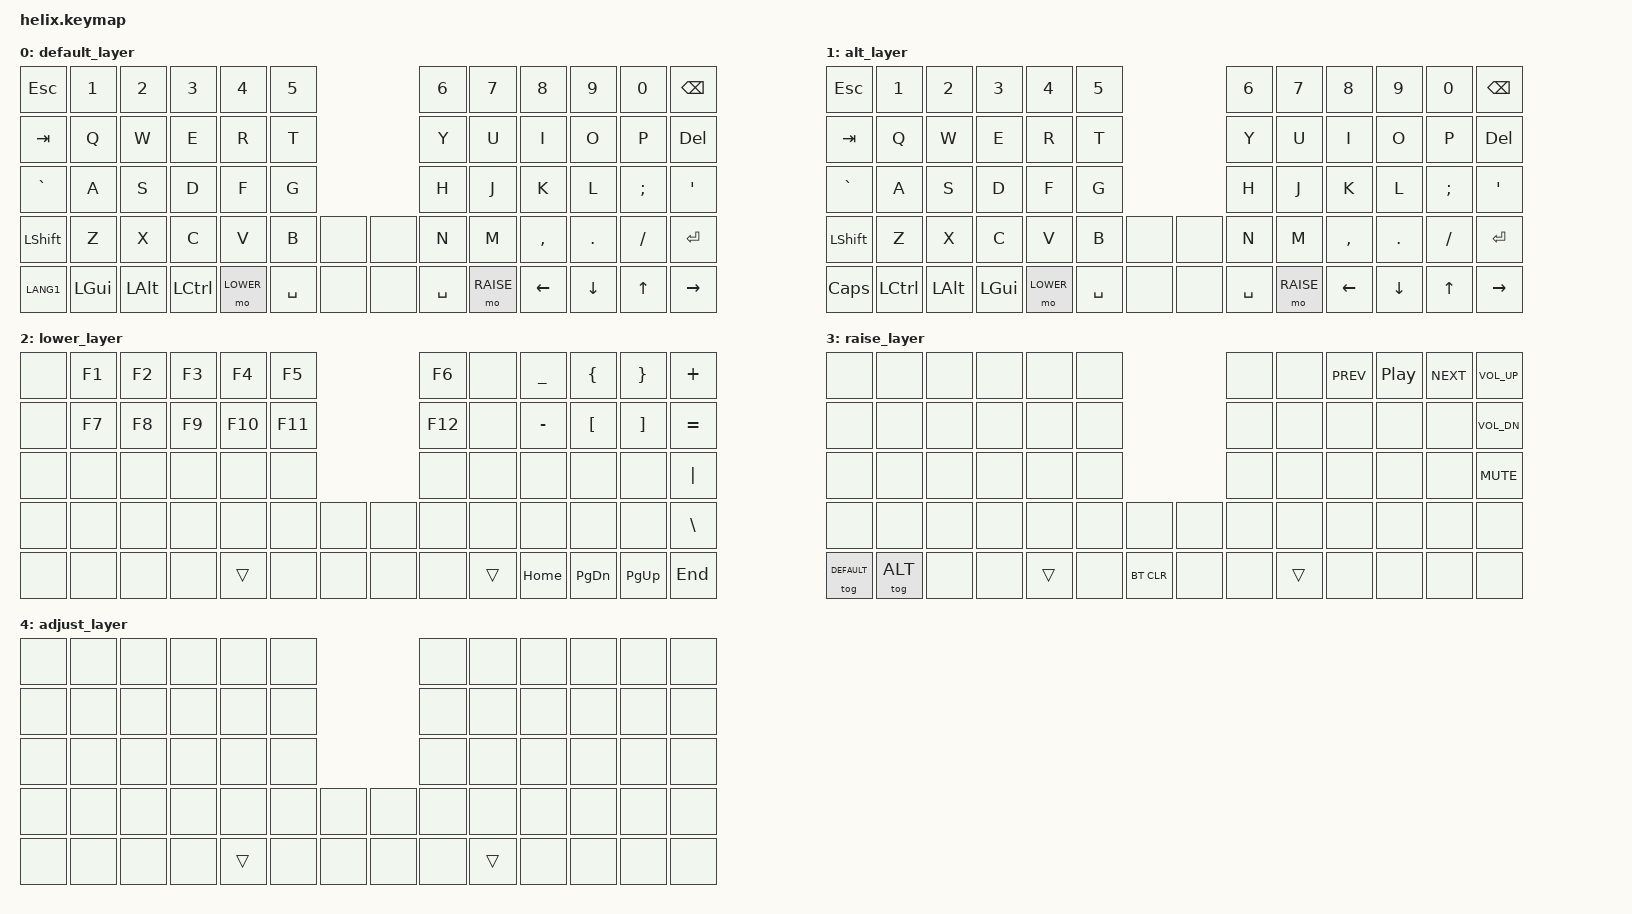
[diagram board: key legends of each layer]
/*
 * Copyright (c) 2020 The ZMK Contributors
 *
 * SPDX-License-Identifier: MIT
 */

 #include <behaviors.dtsi>
 #include <dt-bindings/zmk/keys.h>
 #include <dt-bindings/zmk/bt.h>
 #include <dt-bindings/zmk/rgb.h>
 #include <dt-bindings/zmk/ext_power.h>
 #include <dt-bindings/zmk/outputs.h>

 #define DEFAULT 0
 #define ALT     1
 #define LOWER   2
 #define RAISE   3
 #define ADJUST  4

/* NOTE: At the time of the creation of this keymap, there are no specified codes for 'eisuu' and 'kana' input in ZMK.
However, 'LANG1' and 'LANG2' are fully-functioning candidates for 'kana' and 'eisuu' input respectively.
As such, those are in use within the default layer at this time. */

/ {
    keymap {
        compatible = "zmk,keymap";

/* Windows layout
    | ESC   | 1    | 2    | 3     | 4     | 5     |                  | 6     | 7     | 8    | 9    | 0  | BSPC  |
    | TAB   | Q    | W    | E     | R     | T     |                  | Y     | U     | I    | O    | P  | DEL   |
    | GRAVE | A    | S    | D     | F     | G     |                  | H     | J     | K    | L    | ;  | '     |
    | SHIFT | Z    | X    | C     | V     | B     |    |        |    | N     | M     | ,    | .    | /  | ENTER |
    | LANG1 | LGUI | LALT | LCTRL | LOWER | SPACE |    |        |    | SPACE | RAISE | LEFT | DOWN | UP | RIGHT |
*/
        default_layer {
            bindings = <
                &kp ESC   &kp N1   &kp N2   &kp N3    &kp N4    &kp N5                   &kp N6    &kp N7    &kp N8    &kp N9     &kp N0    &kp BSPC
                &kp TAB   &kp Q    &kp W    &kp E     &kp R     &kp T                    &kp Y     &kp U     &kp I     &kp O      &kp P     &kp DEL
                &kp GRAVE &kp A    &kp S    &kp D     &kp F     &kp G                    &kp H     &kp J     &kp K     &kp L      &kp SEMI  &kp SQT
                &kp LSHFT &kp Z    &kp X    &kp C     &kp V     &kp B     &none    &none &kp N     &kp M     &kp COMMA &kp PERIOD &kp SLASH &kp ENTER
                &kp LANG1 &kp LGUI &kp LALT &kp LCTRL &mo LOWER &kp SPACE &none    &none &kp SPACE &mo RAISE &kp LEFT  &kp DOWN   &kp UP    &kp RIGHT
            >;
        };

/* Mac layout
    | ESC   | 1     | 2    | 3    | 4     | 5     |                  | 6     | 7     | 8    | 9    | 0  | BSPC  |
    | TAB   | Q     | W    | E    | R     | T     |                  | Y     | U     | I    | O    | P  | DEL   |
    | GRAVE | A     | S    | D    | F     | G     |                  | H     | J     | K    | L    | ;  | '     |
    | SHIFT | Z     | X    | C    | V     | B     |    |        |    | N     | M     | ,    | .    | /  | ENTER |
    | CAPS  | LCTRL | LALT | LGUI | LOWER | SPACE |    |        |    | SPACE | RAISE | LEFT | DOWN | UP | RIGHT |
*/
        alt_layer {
            bindings = <
                &kp ESC   &kp N1    &kp N2   &kp N3   &kp N4    &kp N5                   &kp N6    &kp N7    &kp N8    &kp N9     &kp N0    &kp BSPC
                &kp TAB   &kp Q     &kp W    &kp E    &kp R     &kp T                    &kp Y     &kp U     &kp I     &kp O      &kp P     &kp DEL
                &kp GRAVE &kp A     &kp S    &kp D    &kp F     &kp G                    &kp H     &kp J     &kp K     &kp L      &kp SEMI  &kp SQT
                &kp LSHFT &kp Z     &kp X    &kp C    &kp V     &kp B     &none    &none &kp N     &kp M     &kp COMMA &kp PERIOD &kp SLASH &kp ENTER
                &kp CAPS  &kp LCTRL &kp LALT &kp LGUI &mo LOWER &kp SPACE &none    &none &kp SPACE &mo RAISE &kp LEFT  &kp DOWN   &kp UP    &kp RIGHT
            >;
        };

/*
    |    | F1 | F2 | F3 | F4    | F5  |                  | F6  |       | _    | {     | }     | +   |
    |    | F7 | F8 | F9 | F10   | F11 |                  | F12 |       | -    | [     | ]     | =   |
    |    |    |    |    |       |     |                  |     |       |      |       |       | |   |
    |    |    |    |    |       |     |    |        |    |     |       |      |       |       | \   |
    |    |    |    |    | LOWER |     |    |        |    |     | RAISE | HOME | PG_DN | PG_UP | END |
*/
        lower_layer {
            bindings = <
                &none &kp F1 &kp F2 &kp F3 &kp F4  &kp F5                 &kp F6  &none  &kp UNDER &kp LBRC  &kp RBRC  &kp PLUS
                &none &kp F7 &kp F8 &kp F9 &kp F10 &kp F11                &kp F12 &none  &kp MINUS &kp LBKT  &kp RBKT  &kp EQUAL
                &none &none  &none  &none  &none   &none                  &none   &none  &none     &none     &none     &kp PIPE
                &none &none  &none  &none  &none   &none   &none    &none &none   &none  &none     &none     &none     &kp BSLH
                &none &none  &none  &none  &trans  &none   &none    &none &none   &trans &kp HOME  &kp PG_DN &kp PG_UP &kp END
            >;
        };

/*
    |    |    |    |    |       |    |                      |    |       | C_PREV | C_PP | C_NEXT | C_VOL_UP |
    |    |    |    |    |       |    |                      |    |       |        |      |        | C_VOL_DN |
    |    |    |    |    |       |    |                      |    |       |        |      |        | C_MUTE   |
    |    |    |    |    |       |    |        |        |    |    |       |        |      |        |          |
    |    |    |    |    | LOWER |    | BT_CLR |        |    |    | RAISE |        |      |        |          |
*/
        raise_layer {
            bindings = <
                &none        &none    &none &none &none  &none                     &none &none  &kp C_PREV &kp C_PP &kp C_NEXT &kp C_VOL_UP
                &none        &none    &none &none &none  &none                     &none &none  &none      &none    &none      &kp C_VOL_DN
                &none        &none    &none &none &none  &none                     &none &none  &none      &none    &none      &kp C_MUTE
                &none        &none    &none &none &none  &none &none         &none &none &none  &none      &none    &none      &none
                &tog DEFAULT &tog ALT &none &none &trans &none &bt BT_CLR    &none &none &trans &none      &none    &none      &none
            >;
        };

/*
    |    |    |    |    |    |    |                  |    |    |    |    |    |    |
    |    |    |    |    |    |    |                  |    |    |    |    |    |    |
    |    |    |    |    |    |    |                  |    |    |    |    |    |    |
    |    |    |    |    |    |    |    |        |    |    |    |    |    |    |    |
    |    |    |    |    |    |    |    |        |    |    |    |    |    |    |    |
*/
        adjust_layer {
            bindings = <
                &none &none &none &none &none  &none                &none &none  &none &none &none &none
                &none &none &none &none &none  &none                &none &none  &none &none &none &none
                &none &none &none &none &none  &none                &none &none  &none &none &none &none
                &none &none &none &none &none  &none &none    &none &none &none  &none &none &none &none
                &none &none &none &none &trans &none &none    &none &none &trans &none &none &none &none
            >;
        };
    };
};
